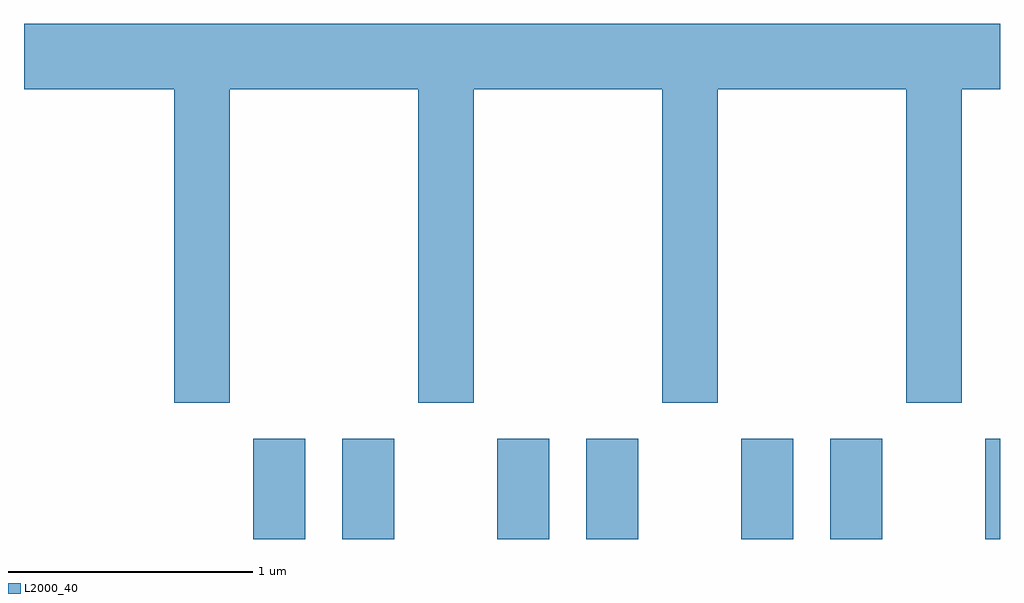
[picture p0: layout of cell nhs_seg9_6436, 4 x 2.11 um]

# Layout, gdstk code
import gdstk
lib = gdstk.Library(unit=1e-6, precision=1e-09)
def R(c, l, rs):  # rectangles x0, y0, x1, y1
    for r in rs: c.add(gdstk.rectangle(r[:2], r[2:], *l))
def P(c, l, *ps):  # polygons
    for p in ps: c.add(gdstk.Polygon(p, *l))
L2000_40 = (2000, 40)

nhs_seg9_6436 = lib.new_cell('nhs_seg9_6436')
R(nhs_seg9_6436, L2000_40, [(376.551,1974.432,376.764,1974.844), (376.916,1974.432,377.129,1974.844), (377.551,1974.432,377.764,1974.844), (377.916,1974.432,378.129,1974.844), (378.551,1974.432,378.764,1974.844), (378.916,1974.432,379.129,1974.844), (379.551,1974.432,379.611,1974.844)])
P(nhs_seg9_6436, L2000_40, [(376.454,1976.276),(377.226,1976.276),(377.226,1974.991),(377.454,1974.991),(377.454,1976.276),(378.226,1976.276),(378.226,1974.991),(378.454,1974.991),(378.454,1976.276),(379.226,1976.276),(379.226,1974.991),(379.454,1974.991),(379.454,1976.276),(379.611,1976.276),(379.611,1976.544),(375.611,1976.544),(375.611,1976.276),(376.226,1976.276),(376.226,1974.991),(376.454,1974.991)])

lib.write_gds('nhs_seg9_6436.gds')
